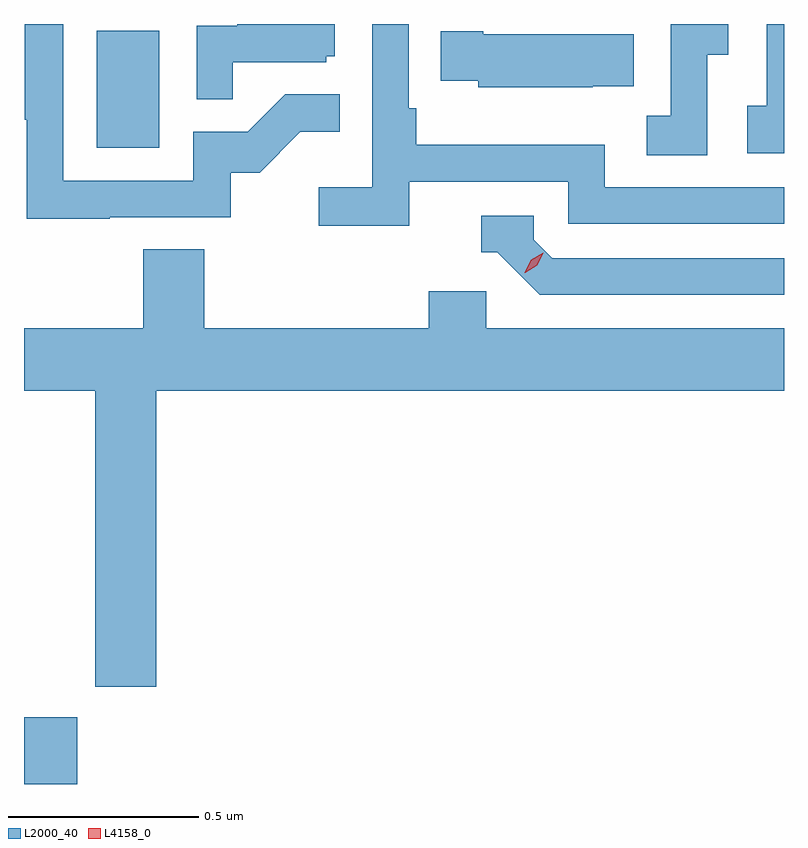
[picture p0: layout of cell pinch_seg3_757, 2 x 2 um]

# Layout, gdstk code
import gdstk
lib = gdstk.Library(unit=1e-6, precision=1e-09)
def R(c, l, rs):  # rectangles x0, y0, x1, y1
    for r in rs: c.add(gdstk.rectangle(r[:2], r[2:], *l))
def P(c, l, *ps):  # polygons
    for p in ps: c.add(gdstk.Polygon(p, *l))
L2000_40 = (2000, 40)
L4158_0 = (4158, 0)

pinch_seg3_757 = lib.new_cell('pinch_seg3_757')
R(pinch_seg3_757, L2000_40, [(863.096,742.505,863.236,742.681), (863.288,744.18,863.452,744.487)])
P(pinch_seg3_757, L2000_40, [(864.11,744.09),(864.528,744.09),(864.528,743.979),(865.096,743.979),(865.096,744.075),(864.624,744.075),(864.624,744.187),(864.128,744.187),(864.128,744.283),(864.108,744.283),(864.108,744.505),(864.012,744.505),(864.012,744.076),(863.871,744.076),(863.871,743.974),(864.11,743.974)],
  [(864.894,744.424),(864.949,744.424),(864.949,744.505),(864.798,744.505),(864.798,744.263),(864.735,744.263),(864.735,744.16),(864.894,744.16)],
  [(863.321,743.997),(863.64,743.997),(863.64,744.114),(863.716,744.114),(863.823,744.221),(863.927,744.221),(863.927,744.32),(863.783,744.32),(863.685,744.222),(863.541,744.222),(863.541,744.093),(863.199,744.093),(863.199,744.505),(863.098,744.505),(863.098,744.253),(863.103,744.253),(863.103,743.992),(863.321,743.992)],
  [(863.645,744.405),(863.892,744.405),(863.892,744.42),(863.914,744.42),(863.914,744.505),(863.657,744.505),(863.657,744.501),(863.55,744.501),(863.55,744.307),(863.645,744.307)],
  [(865.096,744.505),(865.05,744.505),(865.05,744.29),(864.999,744.29),(864.999,744.165),(865.096,744.165)],
  [(864.593,744.341),(864.701,744.341),(864.701,744.478),(864.304,744.478),(864.304,744.486),(864.193,744.486),(864.193,744.356),(864.291,744.356),(864.291,744.338),(864.593,744.338)],
  [(865.096,743.889),(864.486,743.889),(864.438,743.937),(864.438,744),(864.299,744),(864.299,743.904),(864.342,743.904),(864.453,743.793),(865.096,743.793)],
  [(863.444,743.54),(865.096,743.54),(865.096,743.704),(864.312,743.704),(864.312,743.802),(864.161,743.802),(864.161,743.704),(863.57,743.704),(863.57,743.912),(863.41,743.912),(863.41,743.704),(863.096,743.704),(863.096,743.54),(863.284,743.54),(863.284,742.761),(863.444,742.761)])
P(pinch_seg3_757, L4158_0, [(864.414,743.851),(864.414,743.852),(864.431,743.884),(864.462,743.903),(864.462,743.903),(864.462,743.903),(864.446,743.87),(864.415,743.851)])

lib.write_gds('pinch_seg3_757.gds')
